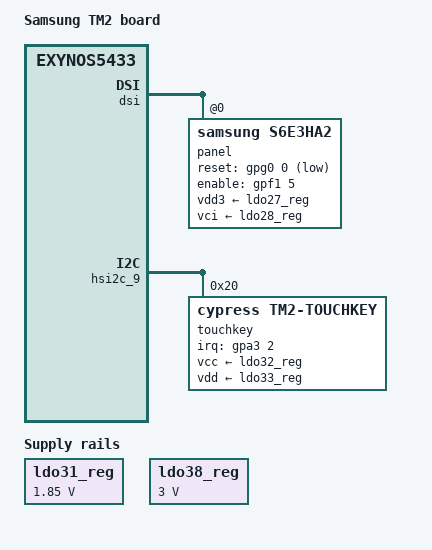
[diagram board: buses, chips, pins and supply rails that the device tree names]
// SPDX-License-Identifier: GPL-2.0
/*
 * SAMSUNG Exynos5433 TM2 board device tree source
 *
 * Copyright (c) 2016 Samsung Electronics Co., Ltd.
 *
 * Device tree source file for Samsung's TM2 board which is based on
 * Samsung Exynos5433 SoC.
 */

#include "exynos5433-tm2-common.dtsi"

/ {
	model = "Samsung TM2 board";
	compatible = "samsung,tm2", "samsung,exynos5433";
};

&cmu_disp {
	/*
	 * TM2 and TM2e differ only by DISP_PLL rate, but define all assigned
	 * clocks properties for DISP CMU for each board to keep them together
	 * for easier review and maintenance.
	 */
	assigned-clocks = <&cmu_disp CLK_FOUT_DISP_PLL>,
			  <&cmu_mif CLK_DIV_SCLK_DECON_TV_ECLK>,
			  <&cmu_disp CLK_MOUT_ACLK_DISP_333_USER>,
			  <&cmu_disp CLK_MOUT_SCLK_DSIM0_USER>,
			  <&cmu_disp CLK_MOUT_SCLK_DSIM0>,
			  <&cmu_disp CLK_MOUT_SCLK_DECON_ECLK_USER>,
			  <&cmu_disp CLK_MOUT_SCLK_DECON_ECLK>,
			  <&cmu_disp CLK_MOUT_PHYCLK_MIPIDPHY0_RXCLKESC0_USER>,
			  <&cmu_disp CLK_MOUT_PHYCLK_MIPIDPHY0_BITCLKDIV8_USER>,
			  <&cmu_disp CLK_MOUT_DISP_PLL>,
			  <&cmu_mif CLK_MOUT_SCLK_DECON_TV_ECLK_A>,
			  <&cmu_disp CLK_MOUT_SCLK_DECON_TV_ECLK_USER>,
			  <&cmu_disp CLK_MOUT_SCLK_DECON_TV_ECLK>;
	assigned-clock-parents = <0>, <0>,
				 <&cmu_mif CLK_ACLK_DISP_333>,
				 <&cmu_mif CLK_SCLK_DSIM0_DISP>,
				 <&cmu_disp CLK_MOUT_SCLK_DSIM0_USER>,
				 <&cmu_mif CLK_SCLK_DECON_ECLK_DISP>,
				 <&cmu_disp CLK_MOUT_SCLK_DECON_ECLK_USER>,
				 <&cmu_disp CLK_PHYCLK_MIPIDPHY0_RXCLKESC0_PHY>,
				 <&cmu_disp CLK_PHYCLK_MIPIDPHY0_BITCLKDIV8_PHY>,
				 <&cmu_disp CLK_FOUT_DISP_PLL>,
				 <&cmu_mif CLK_MOUT_BUS_PLL_DIV2>,
				 <&cmu_mif CLK_SCLK_DECON_TV_ECLK_DISP>,
				 <&cmu_disp CLK_MOUT_SCLK_DECON_TV_ECLK_USER>;
	assigned-clock-rates = <250000000>, <400000000>;
};

&dsi {
	panel@0 {
		compatible = "samsung,s6e3ha2";
		reg = <0>;
		vdd3-supply = <&ldo27_reg>;
		vci-supply = <&ldo28_reg>;
		reset-gpios = <&gpg0 0 GPIO_ACTIVE_LOW>;
		enable-gpios = <&gpf1 5 GPIO_ACTIVE_HIGH>;
	};
};

&hsi2c_9 {
	status = "okay";

	touchkey@20 {
		compatible = "cypress,tm2-touchkey";
		reg = <0x20>;
		interrupt-parent = <&gpa3>;
		interrupts = <2 IRQ_TYPE_EDGE_FALLING>;
		vcc-supply = <&ldo32_reg>;
		vdd-supply = <&ldo33_reg>;
	};
};

&ldo31_reg {
	regulator-name = "TSP_VDD_1.85V_AP";
	regulator-min-microvolt = <1850000>;
	regulator-max-microvolt = <1850000>;
};

&ldo38_reg {
	regulator-name = "VCC_3.0V_MOTOR_AP";
	regulator-min-microvolt = <3000000>;
	regulator-max-microvolt = <3000000>;
};

&stmfts {
	touchscreen-size-x = <1439>;
	touchscreen-size-y = <2559>;
};
